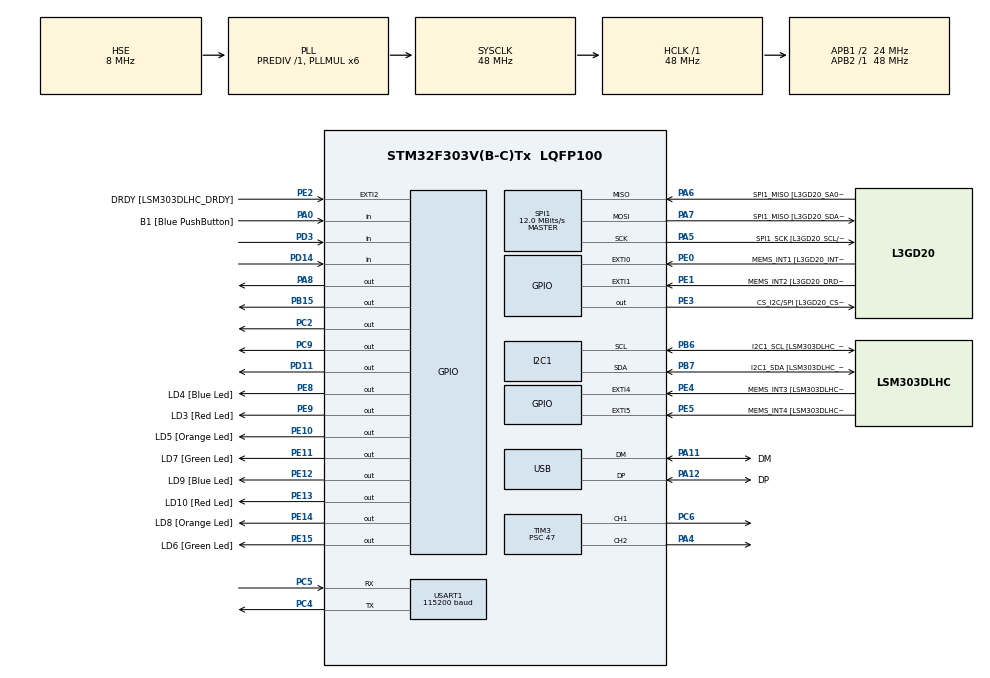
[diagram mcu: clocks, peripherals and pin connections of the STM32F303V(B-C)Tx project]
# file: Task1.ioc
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I2C1.Timing=0x00201D2B
I2C1.Timing-I2C=0x2000090E
Mcu.Family=STM32F3
Mcu.Name=STM32F303V(B-C)Tx
Mcu.Package=LQFP100
NVIC.PriorityGroup=NVIC_PRIORITYGROUP_0
PA0.GPIO_Label=B1 [Blue PushButton]
PA0.Signal=GPIO_Input
PA11.GPIO_Label=DM
PA11.Mode=Device
PA11.Signal=USB_DM
PA12.GPIO_Label=DP
PA12.Mode=Device
PA12.Signal=USB_DP
PA13.GPIO_Label=SWDIO
PA13.Mode=Serial_Wire
PA13.Signal=SYS_JTMS-SWDIO
PA14.GPIO_Label=SWCLK
PA14.Mode=Serial_Wire
PA14.Signal=SYS_JTCK-SWCLK
PA4.Signal=S_TIM3_CH2
PA5.GPIO_Label=SPI1_SCK [L3GD20_SCL/SPC]
PA5.Mode=Full_Duplex_Master
PA5.Signal=SPI1_SCK
PA6.GPIO_Label=SPI1_MISO [L3GD20_SA0/SDO]
PA6.Mode=Full_Duplex_Master
PA6.Signal=SPI1_MISO
PA7.GPIO_Label=SPI1_MISO [L3GD20_SDA/SDI/SDO]
PA7.Mode=Full_Duplex_Master
PA7.Signal=SPI1_MOSI
PA8.Signal=GPIO_Output
PB15.Signal=GPIO_Output
PB3.GPIO_Label=SWO
PB3.Signal=SYS_JTDO-TRACESWO
PB6.GPIO_Label=I2C1_SCL [LSM303DLHC_SCL]
PB6.GPIO_Pu=GPIO_PULLUP
PB6.Mode=I2C
PB6.Signal=I2C1_SCL
PB7.GPIO_Label=I2C1_SDA [LSM303DLHC_SDA]
PB7.GPIO_Pu=GPIO_PULLUP
PB7.Mode=I2C
PB7.Signal=I2C1_SDA
PC14-OSC32_IN.GPIO_Label=OSC32_IN
PC14-OSC32_IN.Signal=RCC_OSC32_IN
PC15-OSC32_OUT.GPIO_Label=OSC32_OUT
PC15-OSC32_OUT.Signal=RCC_OSC32_OUT
PC2.Signal=GPIO_Output
PC4.Mode=Asynchronous
PC4.Signal=USART1_TX
PC5.Mode=Asynchronous
PC5.Signal=USART1_RX
PC6.Signal=S_TIM3_CH1
PC9.Signal=GPIO_Output
PD11.Signal=GPIO_Output
PD14.Signal=GPIO_Input
PD3.Signal=GPIO_Input
PE0.GPIO_Label=MEMS_INT1 [L3GD20_INT1]
PE0.GPIO_ModeDefaultEXTI=GPIO_MODE_EVT_RISING
PE0.Signal=GPXTI0
PE1.GPIO_Label=MEMS_INT2 [L3GD20_DRDY/INT2]
PE1.GPIO_ModeDefaultEXTI=GPIO_MODE_EVT_RISING
PE1.Signal=GPXTI1
PE10.GPIO_Label=LD5 [Orange Led]
PE10.Signal=GPIO_Output
PE11.GPIO_Label=LD7 [Green Led]
PE11.Signal=GPIO_Output
PE12.GPIO_Label=LD9 [Blue Led]
PE12.Signal=GPIO_Output
PE13.GPIO_Label=LD10 [Red Led]
PE13.Signal=GPIO_Output
PE14.GPIO_Label=LD8 [Orange Led]
PE14.Signal=GPIO_Output
PE15.GPIO_Label=LD6 [Green Led]
PE15.Signal=GPIO_Output
PE2.GPIO_Label=DRDY [LSM303DLHC_DRDY]
PE2.GPIO_ModeDefaultEXTI=GPIO_MODE_EVT_RISING
PE2.Signal=GPXTI2
PE3.GPIO_Label=CS_I2C/SPI [L3GD20_CS_I2C/SPI]
PE3.Signal=GPIO_Output
PE4.GPIO_Label=MEMS_INT3 [LSM303DLHC_INT1]
PE4.GPIO_ModeDefaultEXTI=GPIO_MODE_EVT_RISING
PE4.Signal=GPXTI4
PE5.GPIO_Label=MEMS_INT4 [LSM303DLHC_INT2]
PE5.GPIO_ModeDefaultEXTI=GPIO_MODE_EVT_RISING
PE5.Signal=GPXTI5
PE8.GPIO_Label=LD4 [Blue Led]
PE8.Signal=GPIO_Output
PE9.GPIO_Label=LD3 [Red Led]
PE9.Signal=GPIO_Output
PF0-OSC_IN.GPIO_Label=OSC_IN
PF0-OSC_IN.Mode=HSE-External-Clock-Source
PF0-OSC_IN.Signal=RCC_OSC_IN
PF1-OSC_OUT.GPIO_Label=OSC_OUT
PF1-OSC_OUT.Signal=RCC_OSC_OUT
ProjectManager.HeapSize=0x200
ProjectManager.StackSize=0x400
ProjectManager.TargetToolchain=CMake
RCC.AHBFreq_Value=48000000
RCC.APB1CLKDivider=RCC_HCLK_DIV2
RCC.APB1Freq_Value=24000000
RCC.APB1TimFreq_Value=48000000
RCC.APB2Freq_Value=48000000
RCC.APB2TimFreq_Value=48000000
RCC.CortexFreq_Value=48000000
RCC.HCLKFreq_Value=48000000
RCC.HSE_VALUE=8000000
RCC.HSI_VALUE=8000000
RCC.LSE_VALUE=32768
RCC.PLLMUL=RCC_PLL_MUL6
RCC.SYSCLKFreq_VALUE=48000000
RCC.SYSCLKSourceVirtual=RCC_SYSCLKSOURCE_PLLCLK
RCC.USBFreq_Value=48000000
SH.S_TIM3_CH1.0=TIM3_CH1,PWM Generation1 CH1
SH.S_TIM3_CH2.0=TIM3_CH2,PWM Generation2 CH2
SPI1.BaudRatePrescaler=SPI_BAUDRATEPRESCALER_4
SPI1.BaudRatePrescaler-Full_Duplex_Master=SPI_BAUDRATEPRESCALER_2
SPI1.CalculateBaudRate=12.0 MBits/s
SPI1.CalculateBaudRate-Full_Duplex_Master=24.0 MBits/s
SPI1.Direction=SPI_DIRECTION_2LINES
SPI1.Mode=SPI_MODE_MASTER
SPI1.Mode-Full_Duplex_Master=SPI_MODE_MASTER
SPI1.VirtualType=VM_MASTER
TIM3.Channel-PWM\ Generation1\ CH1=TIM_CHANNEL_1
TIM3.Channel-PWM\ Generation2\ CH2=TIM_CHANNEL_2
TIM3.Period=999
TIM3.Prescaler=47
TIM3.Pulse-PWM\ Generation1\ CH1=500
USART1.BaudRate=115200
USART1.VirtualMode-Asynchronous=VM_ASYNC
VP_TIM2_VS_ClockSourceINT.Mode=Internal
board=STM32F3DISCOVERY

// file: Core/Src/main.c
/* USER CODE BEGIN Header */
/**
  ******************************************************************************
  * @file           : main.c
  * @brief          : Main program body
  ******************************************************************************
  * @attention
  *
  * Copyright (c) 2026 STMicroelectronics.
  * All rights reserved.
  *
  * This software is licensed under terms that can be found in the LICENSE file
  * in the root directory of this software component.
  * If no LICENSE file comes with this software, it is provided AS-IS.
  *
  ******************************************************************************
  */
/* USER CODE END Header */
#include "main.h"

/* USER CODE BEGIN Includes */
#include <stdarg.h>
#include <stdio.h>
#include <string.h>
/* USER CODE END Includes */

I2C_HandleTypeDef hi2c1;

SPI_HandleTypeDef hspi1;

TIM_HandleTypeDef htim2;
TIM_HandleTypeDef htim3;

UART_HandleTypeDef huart1;

PCD_HandleTypeDef hpcd_USB_FS;

void SystemClock_Config(void);
static void MX_GPIO_Init(void);
static void MX_I2C1_Init(void);
static void MX_SPI1_Init(void);
static void MX_TIM3_Init(void);
static void MX_USB_PCD_Init(void);
static void MX_TIM2_Init(void);
static void MX_USART1_UART_Init(void);

/* USER CODE BEGIN 0 */

void stop(){
    HAL_GPIO_WritePin(GPIOD, GPIO_PIN_11, GPIO_PIN_SET);
    HAL_GPIO_WritePin(GPIOB, GPIO_PIN_15, GPIO_PIN_SET);
    HAL_GPIO_WritePin(GPIOC, GPIO_PIN_9, GPIO_PIN_SET);
    HAL_GPIO_WritePin(GPIOC, GPIO_PIN_2, GPIO_PIN_SET);

    uint32_t ARR = 999;
    __HAL_TIM_SET_COMPARE(&htim3, TIM_CHANNEL_1 , ARR - 0);
    __HAL_TIM_SET_COMPARE(&htim3, TIM_CHANNEL_2 , ARR - 0);
}

void forward_motor(){

    HAL_GPIO_WritePin(GPIOD, GPIO_PIN_11, GPIO_PIN_RESET);
    HAL_GPIO_WritePin(GPIOB, GPIO_PIN_15, GPIO_PIN_SET);
    HAL_GPIO_WritePin(GPIOC, GPIO_PIN_9, GPIO_PIN_RESET);
    HAL_GPIO_WritePin(GPIOC, GPIO_PIN_2, GPIO_PIN_SET);

    uint32_t ARR = 999;
    __HAL_TIM_SET_COMPARE(&htim3, TIM_CHANNEL_1 , ARR );
    __HAL_TIM_SET_COMPARE(&htim3, TIM_CHANNEL_2 , ARR );
  }
  void backward_motor(){
    HAL_GPIO_WritePin(GPIOD, GPIO_PIN_11, GPIO_PIN_SET);
    HAL_GPIO_WritePin(GPIOB, GPIO_PIN_15, GPIO_PIN_RESET);
    HAL_GPIO_WritePin(GPIOC, GPIO_PIN_9, GPIO_PIN_SET);
    HAL_GPIO_WritePin(GPIOC, GPIO_PIN_2, GPIO_PIN_RESET);

    uint32_t ARR = 999;
    __HAL_TIM_SET_COMPARE(&htim3, TIM_CHANNEL_1 , ARR - 700);
    __HAL_TIM_SET_COMPARE(&htim3, TIM_CHANNEL_2 , ARR - 700);
  }

void cout(const char *fmt, ...) {
    char buffer[128];
    va_list args;
    va_start(args, fmt);
    int l = vsnprintf(buffer, sizeof(buffer), fmt, args);
    va_end(args);
    if (l > 0) {
        // Changed huart2 to huart1 right here:
        HAL_UART_Transmit(&huart1, (uint8_t*)buffer, l, HAL_MAX_DELAY);
    }
}

void measure_motor_speed(void) {
    uint32_t ticks = 0;
    float frequency = 0.0f;
    float rpm = 0.0f;

    // Pulses Per Revolution (PPR). Update this based on your specific motor/encoder disk!
    // Often 20 for standard lab optical encoder disks.
    const float PPR = 330.0f;

    // 1. Wait for pin to be HIGH (ensures we catch a clean falling edge)
    while(HAL_GPIO_ReadPin(GPIOD, GPIO_PIN_3) == GPIO_PIN_RESET);

    // 2. Wait for the FIRST falling edge
    while(HAL_GPIO_ReadPin(GPIOD, GPIO_PIN_3) == GPIO_PIN_SET);

    // 3. Reset and start Timer 2
    __HAL_TIM_SET_COUNTER(&htim2, 0);
    HAL_TIM_Base_Start(&htim2);

    // 4. Wait for the signal to go HIGH again
    while(HAL_GPIO_ReadPin(GPIOD, GPIO_PIN_3) == GPIO_PIN_RESET);

    // 5. Wait for the SECOND falling edge
    while(HAL_GPIO_ReadPin(GPIOD, GPIO_PIN_3) == GPIO_PIN_SET);

    // 6. Stop timer and capture ticks
    HAL_TIM_Base_Stop(&htim2);
    ticks = __HAL_TIM_GET_COUNTER(&htim2);

    // 7. Calculate Frequency and RPM
    // Assuming TIM2 is configured for a 1 MHz clock
    if(ticks > 0) {
        frequency = 48000000.0f / (float)ticks;
        rpm = (frequency * 60.0f) / PPR;
        cout("Ticks: %lu | Freq: %d Hz | RPM: %d\r\n", ticks, (int)frequency, (int)rpm);
    }
}

/* USER CODE END 0 */

int main(void)
{

  /* MCU Configuration--------------------------------------------------------*/

  /* Reset of all peripherals, Initializes the Flash interface and the Systick. */
  HAL_Init();

  /* Configure the system clock */
  SystemClock_Config();

  /* Initialize all configured peripherals */
  MX_GPIO_Init();
  MX_I2C1_Init();
  MX_SPI1_Init();
  MX_TIM3_Init();
  MX_USB_PCD_Init();
  MX_TIM2_Init();
  MX_USART1_UART_Init();

  /* Infinite loop */
  /* USER CODE BEGIN WHILE */
  // Startt PWM for both motors
  HAL_TIM_PWM_Start(&htim3, TIM_CHANNEL_1);  // Left motor PWM (D9)
  HAL_TIM_PWM_Start(&htim3, TIM_CHANNEL_2);  // Right motor PWM (D10)

  // Set initial direction: FORWARD
  // D12 = HIGH, D8 = LOW for right motor forward
  // D7 = HIGH, D6 = LOW for left motor forward

  /* USER CODE END 2 */

  /* Infinite loop */
  /* USER CODE BEGIN WHILE */
  /* USER CODE BEGIN 2 */
  // Start PWM for both motors
  HAL_TIM_PWM_Start(&htim3, TIM_CHANNEL_1);
  HAL_TIM_PWM_Start(&htim3, TIM_CHANNEL_2);

  // Set motor to spin forward so the encoder actually turns
  // backward_motor();
  /* USER CODE END 2 */

  /* Infinite loop */
  /* USER CODE BEGIN WHILE */
  while (1)
  {
    HAL_GPIO_WritePin(GPIOC, GPIO_PIN_2, GPIO_PIN_SET);
    HAL_GPIO_WritePin(GPIOC, GPIO_PIN_9, GPIO_PIN_RESET);

    __HAL_TIM_SET_COMPARE(&htim3, TIM_CHANNEL_2 , 200);

    HAL_GPIO_WritePin(GPIOD, GPIO_PIN_11, GPIO_PIN_SET);
    HAL_GPIO_WritePin(GPIOB, GPIO_PIN_15, GPIO_PIN_RESET);

    __HAL_TIM_SET_COMPARE(&htim3, TIM_CHANNEL_1 , 200);

      measure_motor_speed();
      HAL_Delay(250); // Small delay to prevent flooding the serial terminal
    /* USER CODE END WHILE */

  }
}

void SystemClock_Config(void)
{
  RCC_OscInitTypeDef RCC_OscInitStruct = {0};
  RCC_ClkInitTypeDef RCC_ClkInitStruct = {0};
  RCC_PeriphCLKInitTypeDef PeriphClkInit = {0};

  /** Initializes the RCC Oscillators according to the specified parameters
  * in the RCC_OscInitTypeDef structure.
  */
  RCC_OscInitStruct.OscillatorType = RCC_OSCILLATORTYPE_HSI|RCC_OSCILLATORTYPE_HSE;
  RCC_OscInitStruct.HSEState = RCC_HSE_BYPASS;
  RCC_OscInitStruct.HSEPredivValue = RCC_HSE_PREDIV_DIV1;
  RCC_OscInitStruct.HSIState = RCC_HSI_ON;
  RCC_OscInitStruct.HSICalibrationValue = RCC_HSICALIBRATION_DEFAULT;
  RCC_OscInitStruct.PLL.PLLState = RCC_PLL_ON;
  RCC_OscInitStruct.PLL.PLLSource = RCC_PLLSOURCE_HSE;
  RCC_OscInitStruct.PLL.PLLMUL = RCC_PLL_MUL6;
  if (HAL_RCC_OscConfig(&RCC_OscInitStruct) != HAL_OK)
  {
    Error_Handler();
  }

  /** Initializes the CPU, AHB and APB buses clocks
  */
  RCC_ClkInitStruct.ClockType = RCC_CLOCKTYPE_HCLK|RCC_CLOCKTYPE_SYSCLK
                              |RCC_CLOCKTYPE_PCLK1|RCC_CLOCKTYPE_PCLK2;
  RCC_ClkInitStruct.SYSCLKSource = RCC_SYSCLKSOURCE_PLLCLK;
  RCC_ClkInitStruct.AHBCLKDivider = RCC_SYSCLK_DIV1;
  RCC_ClkInitStruct.APB1CLKDivider = RCC_HCLK_DIV2;
  RCC_ClkInitStruct.APB2CLKDivider = RCC_HCLK_DIV1;

  if (HAL_RCC_ClockConfig(&RCC_ClkInitStruct, FLASH_LATENCY_1) != HAL_OK)
  {
    Error_Handler();
  }
  PeriphClkInit.PeriphClockSelection = RCC_PERIPHCLK_USB|RCC_PERIPHCLK_USART1
                              |RCC_PERIPHCLK_I2C1;
  PeriphClkInit.Usart1ClockSelection = RCC_USART1CLKSOURCE_PCLK2;
  PeriphClkInit.I2c1ClockSelection = RCC_I2C1CLKSOURCE_HSI;
  PeriphClkInit.USBClockSelection = RCC_USBCLKSOURCE_PLL;
  if (HAL_RCCEx_PeriphCLKConfig(&PeriphClkInit) != HAL_OK)
  {
    Error_Handler();
  }
}

static void MX_I2C1_Init(void)
{

  hi2c1.Instance = I2C1;
  hi2c1.Init.Timing = 0x00201D2B;
  hi2c1.Init.OwnAddress1 = 0;
  hi2c1.Init.AddressingMode = I2C_ADDRESSINGMODE_7BIT;
  hi2c1.Init.DualAddressMode = I2C_DUALADDRESS_DISABLE;
  hi2c1.Init.OwnAddress2 = 0;
  hi2c1.Init.OwnAddress2Masks = I2C_OA2_NOMASK;
  hi2c1.Init.GeneralCallMode = I2C_GENERALCALL_DISABLE;
  hi2c1.Init.NoStretchMode = I2C_NOSTRETCH_DISABLE;
  if (HAL_I2C_Init(&hi2c1) != HAL_OK)
  {
    Error_Handler();
  }

  /** Configure Analogue filter
  */
  if (HAL_I2CEx_ConfigAnalogFilter(&hi2c1, I2C_ANALOGFILTER_ENABLE) != HAL_OK)
  {
    Error_Handler();
  }

  /** Configure Digital filter
  */
  if (HAL_I2CEx_ConfigDigitalFilter(&hi2c1, 0) != HAL_OK)
  {
    Error_Handler();
  }

}

static void MX_SPI1_Init(void)
{

  /* SPI1 parameter configuration*/
  hspi1.Instance = SPI1;
  hspi1.Init.Mode = SPI_MODE_MASTER;
  hspi1.Init.Direction = SPI_DIRECTION_2LINES;
  hspi1.Init.DataSize = SPI_DATASIZE_4BIT;
  hspi1.Init.CLKPolarity = SPI_POLARITY_LOW;
  hspi1.Init.CLKPhase = SPI_PHASE_1EDGE;
  hspi1.Init.NSS = SPI_NSS_SOFT;
  hspi1.Init.BaudRatePrescaler = SPI_BAUDRATEPRESCALER_4;
  hspi1.Init.FirstBit = SPI_FIRSTBIT_MSB;
  hspi1.Init.TIMode = SPI_TIMODE_DISABLE;
  hspi1.Init.CRCCalculation = SPI_CRCCALCULATION_DISABLE;
  hspi1.Init.CRCPolynomial = 7;
  hspi1.Init.CRCLength = SPI_CRC_LENGTH_DATASIZE;
  hspi1.Init.NSSPMode = SPI_NSS_PULSE_ENABLE;
  if (HAL_SPI_Init(&hspi1) != HAL_OK)
  {
    Error_Handler();
  }

}

static void MX_TIM2_Init(void)
{

  TIM_ClockConfigTypeDef sClockSourceConfig = {0};
  TIM_MasterConfigTypeDef sMasterConfig = {0};

  htim2.Instance = TIM2;
  htim2.Init.Prescaler = 0;
  htim2.Init.CounterMode = TIM_COUNTERMODE_UP;
  htim2.Init.Period = 4294967295;
  htim2.Init.ClockDivision = TIM_CLOCKDIVISION_DIV1;
  htim2.Init.AutoReloadPreload = TIM_AUTORELOAD_PRELOAD_DISABLE;
  if (HAL_TIM_Base_Init(&htim2) != HAL_OK)
  {
    Error_Handler();
  }
  sClockSourceConfig.ClockSource = TIM_CLOCKSOURCE_INTERNAL;
  if (HAL_TIM_ConfigClockSource(&htim2, &sClockSourceConfig) != HAL_OK)
  {
    Error_Handler();
  }
  sMasterConfig.MasterOutputTrigger = TIM_TRGO_RESET;
  sMasterConfig.MasterSlaveMode = TIM_MASTERSLAVEMODE_DISABLE;
  if (HAL_TIMEx_MasterConfigSynchronization(&htim2, &sMasterConfig) != HAL_OK)
  {
    Error_Handler();
  }

}

static void MX_TIM3_Init(void)
{

  TIM_MasterConfigTypeDef sMasterConfig = {0};
  TIM_OC_InitTypeDef sConfigOC = {0};

  htim3.Instance = TIM3;
  htim3.Init.Prescaler = 47;
  htim3.Init.CounterMode = TIM_COUNTERMODE_UP;
  htim3.Init.Period = 999;
  htim3.Init.ClockDivision = TIM_CLOCKDIVISION_DIV1;
  htim3.Init.AutoReloadPreload = TIM_AUTORELOAD_PRELOAD_DISABLE;
  if (HAL_TIM_PWM_Init(&htim3) != HAL_OK)
  {
    Error_Handler();
  }
  sMasterConfig.MasterOutputTrigger = TIM_TRGO_RESET;
  sMasterConfig.MasterSlaveMode = TIM_MASTERSLAVEMODE_DISABLE;
  if (HAL_TIMEx_MasterConfigSynchronization(&htim3, &sMasterConfig) != HAL_OK)
  {
    Error_Handler();
  }
  sConfigOC.OCMode = TIM_OCMODE_PWM1;
  sConfigOC.Pulse = 500;
  sConfigOC.OCPolarity = TIM_OCPOLARITY_HIGH;
  sConfigOC.OCFastMode = TIM_OCFAST_DISABLE;
  if (HAL_TIM_PWM_ConfigChannel(&htim3, &sConfigOC, TIM_CHANNEL_1) != HAL_OK)
  {
    Error_Handler();
  }
  sConfigOC.Pulse = 0;
  if (HAL_TIM_PWM_ConfigChannel(&htim3, &sConfigOC, TIM_CHANNEL_2) != HAL_OK)
  {
    Error_Handler();
  }
  HAL_TIM_MspPostInit(&htim3);

}

static void MX_USART1_UART_Init(void)
{

  huart1.Instance = USART1;
  huart1.Init.BaudRate = 115200;
  huart1.Init.WordLength = UART_WORDLENGTH_8B;
  huart1.Init.StopBits = UART_STOPBITS_1;
  huart1.Init.Parity = UART_PARITY_NONE;
  huart1.Init.Mode = UART_MODE_TX_RX;
  huart1.Init.HwFlowCtl = UART_HWCONTROL_NONE;
  huart1.Init.OverSampling = UART_OVERSAMPLING_16;
  huart1.Init.OneBitSampling = UART_ONE_BIT_SAMPLE_DISABLE;
  huart1.AdvancedInit.AdvFeatureInit = UART_ADVFEATURE_NO_INIT;
  if (HAL_UART_Init(&huart1) != HAL_OK)
  {
    Error_Handler();
  }

}

static void MX_USB_PCD_Init(void)
{

  hpcd_USB_FS.Instance = USB;
  hpcd_USB_FS.Init.dev_endpoints = 8;
  hpcd_USB_FS.Init.speed = PCD_SPEED_FULL;
  hpcd_USB_FS.Init.phy_itface = PCD_PHY_EMBEDDED;
  hpcd_USB_FS.Init.low_power_enable = DISABLE;
  hpcd_USB_FS.Init.battery_charging_enable = DISABLE;
  if (HAL_PCD_Init(&hpcd_USB_FS) != HAL_OK)
  {
    Error_Handler();
  }

}

static void MX_GPIO_Init(void)
{
  GPIO_InitTypeDef GPIO_InitStruct = {0};

  /* GPIO Ports Clock Enable */
  __HAL_RCC_GPIOE_CLK_ENABLE();
  __HAL_RCC_GPIOC_CLK_ENABLE();
  __HAL_RCC_GPIOF_CLK_ENABLE();
  __HAL_RCC_GPIOA_CLK_ENABLE();
  __HAL_RCC_GPIOB_CLK_ENABLE();
  __HAL_RCC_GPIOD_CLK_ENABLE();

  /*Configure GPIO pin Output Level */
  HAL_GPIO_WritePin(GPIOE, CS_I2C_SPI_Pin|LD4_Pin|LD3_Pin|LD5_Pin
                          |LD7_Pin|LD9_Pin|LD10_Pin|LD8_Pin
                          |LD6_Pin, GPIO_PIN_RESET);

  /*Configure GPIO pin Output Level */
  HAL_GPIO_WritePin(GPIOC, GPIO_PIN_2|GPIO_PIN_9, GPIO_PIN_RESET);

  /*Configure GPIO pin Output Level */
  HAL_GPIO_WritePin(GPIOB, GPIO_PIN_15, GPIO_PIN_RESET);

  /*Configure GPIO pin Output Level */
  HAL_GPIO_WritePin(GPIOD, GPIO_PIN_11, GPIO_PIN_RESET);

  /*Configure GPIO pin Output Level */
  HAL_GPIO_WritePin(GPIOA, GPIO_PIN_8, GPIO_PIN_RESET);

  /*Configure GPIO pins : DRDY_Pin MEMS_INT3_Pin MEMS_INT4_Pin MEMS_INT1_Pin
                           MEMS_INT2_Pin */
  GPIO_InitStruct.Pin = DRDY_Pin|MEMS_INT3_Pin|MEMS_INT4_Pin|MEMS_INT1_Pin
                          |MEMS_INT2_Pin;
  GPIO_InitStruct.Mode = GPIO_MODE_EVT_RISING;
  GPIO_InitStruct.Pull = GPIO_NOPULL;
  HAL_GPIO_Init(GPIOE, &GPIO_InitStruct);

  /*Configure GPIO pins : CS_I2C_SPI_Pin LD4_Pin LD3_Pin LD5_Pin
                           LD7_Pin LD9_Pin LD10_Pin LD8_Pin
                           LD6_Pin */
  GPIO_InitStruct.Pin = CS_I2C_SPI_Pin|LD4_Pin|LD3_Pin|LD5_Pin
                          |LD7_Pin|LD9_Pin|LD10_Pin|LD8_Pin
                          |LD6_Pin;
  GPIO_InitStruct.Mode = GPIO_MODE_OUTPUT_PP;
  GPIO_InitStruct.Pull = GPIO_NOPULL;
  GPIO_InitStruct.Speed = GPIO_SPEED_FREQ_LOW;
  HAL_GPIO_Init(GPIOE, &GPIO_InitStruct);

  /*Configure GPIO pins : PC2 PC9 */
  GPIO_InitStruct.Pin = GPIO_PIN_2|GPIO_PIN_9;
  GPIO_InitStruct.Mode = GPIO_MODE_OUTPUT_PP;
  GPIO_InitStruct.Pull = GPIO_NOPULL;
  GPIO_InitStruct.Speed = GPIO_SPEED_FREQ_LOW;
  HAL_GPIO_Init(GPIOC, &GPIO_InitStruct);

  /*Configure GPIO pin : B1_Pin */
  GPIO_InitStruct.Pin = B1_Pin;
  GPIO_InitStruct.Mode = GPIO_MODE_INPUT;
  GPIO_InitStruct.Pull = GPIO_NOPULL;
  HAL_GPIO_Init(B1_GPIO_Port, &GPIO_InitStruct);

  /*Configure GPIO pin : PB15 */
  GPIO_InitStruct.Pin = GPIO_PIN_15;
  GPIO_InitStruct.Mode = GPIO_MODE_OUTPUT_PP;
  GPIO_InitStruct.Pull = GPIO_NOPULL;
  GPIO_InitStruct.Speed = GPIO_SPEED_FREQ_LOW;
  HAL_GPIO_Init(GPIOB, &GPIO_InitStruct);

  /*Configure GPIO pin : PD11 */
  GPIO_InitStruct.Pin = GPIO_PIN_11;
  GPIO_InitStruct.Mode = GPIO_MODE_OUTPUT_PP;
  GPIO_InitStruct.Pull = GPIO_NOPULL;
  GPIO_InitStruct.Speed = GPIO_SPEED_FREQ_LOW;
  HAL_GPIO_Init(GPIOD, &GPIO_InitStruct);

  /*Configure GPIO pins : PD14 PD3 */
  GPIO_InitStruct.Pin = GPIO_PIN_14|GPIO_PIN_3;
  GPIO_InitStruct.Mode = GPIO_MODE_INPUT;
  GPIO_InitStruct.Pull = GPIO_NOPULL;
  HAL_GPIO_Init(GPIOD, &GPIO_InitStruct);

  /*Configure GPIO pin : PA8 */
  GPIO_InitStruct.Pin = GPIO_PIN_8;
  GPIO_InitStruct.Mode = GPIO_MODE_OUTPUT_PP;
  GPIO_InitStruct.Pull = GPIO_NOPULL;
  GPIO_InitStruct.Speed = GPIO_SPEED_FREQ_LOW;
  HAL_GPIO_Init(GPIOA, &GPIO_InitStruct);

}

void Error_Handler(void)
{
  __disable_irq();
  while (1)
  {
  }
}
